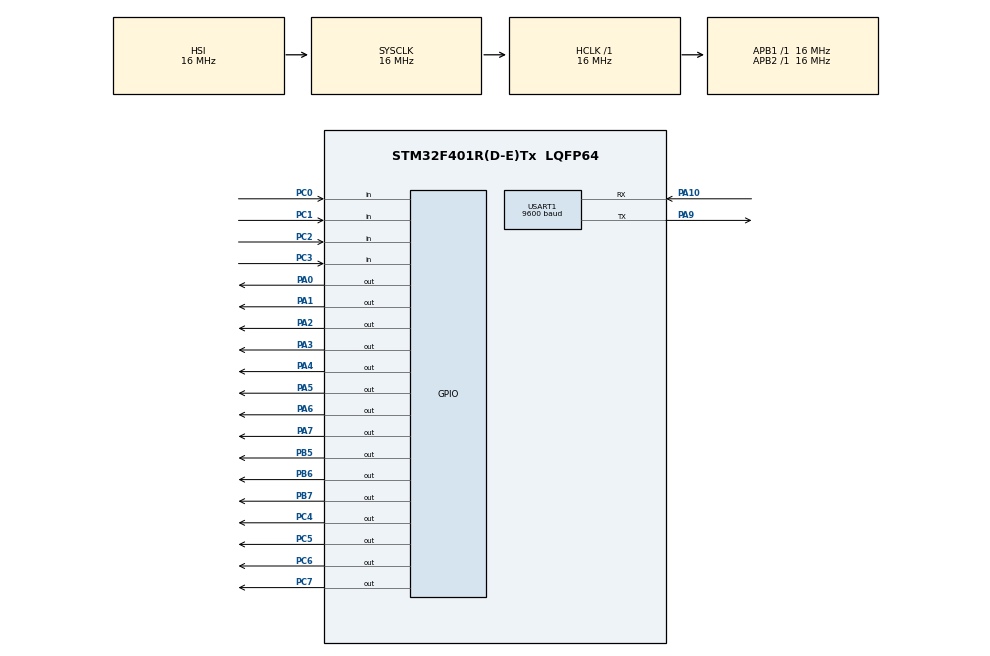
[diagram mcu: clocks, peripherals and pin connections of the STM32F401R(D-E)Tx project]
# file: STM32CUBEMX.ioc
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Mcu.Family=STM32F4
Mcu.Name=STM32F401R(D-E)Tx
Mcu.Package=LQFP64
NVIC.PriorityGroup=NVIC_PRIORITYGROUP_4
NVIC.USART1_IRQn=true\:0\:0\:false\:false\:true\:true\:true
PA0-WKUP.Signal=GPIO_Output
PA1.Signal=GPIO_Output
PA10.Mode=Asynchronous
PA10.Signal=USART1_RX
PA2.Signal=GPIO_Output
PA3.Signal=GPIO_Output
PA4.Signal=GPIO_Output
PA5.Signal=GPIO_Output
PA6.Signal=GPIO_Output
PA7.Signal=GPIO_Output
PA9.Mode=Asynchronous
PA9.Signal=USART1_TX
PB5.Signal=GPIO_Output
PB6.Signal=GPIO_Output
PB7.Signal=GPIO_Output
PC0.GPIO_PuPd=GPIO_PULLUP
PC0.Signal=GPIO_Input
PC1.GPIO_PuPd=GPIO_PULLUP
PC1.Signal=GPIO_Input
PC2.GPIO_PuPd=GPIO_PULLUP
PC2.Signal=GPIO_Input
PC3.GPIO_PuPd=GPIO_PULLUP
PC3.Signal=GPIO_Input
PC4.Signal=GPIO_Output
PC5.Signal=GPIO_Output
PC6.Signal=GPIO_Output
PC7.Signal=GPIO_Output
ProjectManager.HeapSize=0x200
ProjectManager.StackSize=0x400
ProjectManager.TargetToolchain=MDK-ARM V5.32
RCC.AHBFreq_Value=16000000
RCC.APB1Freq_Value=16000000
RCC.APB2Freq_Value=16000000
RCC.CortexFreq_Value=16000000
RCC.HSE_VALUE=25000000
RCC.HSI_VALUE=16000000
RCC.LSE_VALUE=32768
RCC.SYSCLKFreq_VALUE=16000000
RCC.VCOOutputFreq_Value=192000000
USART1.BaudRate=9600
USART1.VirtualMode=VM_ASYNC
board=custom

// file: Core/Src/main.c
/* USER CODE BEGIN Header */
/**
 ******************************************************************************
 * @file           : main.c
 * @brief          : Main program body
 ******************************************************************************
 * @attention
 *
 * <h2><center>&copy; Copyright (c) 2022 STMicroelectronics.
 * All rights reserved.</center></h2>
 *
 * This software component is licensed by ST under BSD 3-Clause license,
 * the "License"; You may not use this file except in compliance with the
 * License. You may obtain a copy of the License at:
 *                        opensource.org/licenses/BSD-3-Clause
 *
 ******************************************************************************
 */
/* USER CODE END Header */
#include "main.h"

/* USER CODE BEGIN Includes */
#include <stdio.h>
#include <stdlib.h>

#define RS 0x20 /* PB5 mask for reg select */
#define RW 0x40 /* PB6 mask for read/write */
#define EN 0x80 /* PB7 mask for enable */

// gpio defines for lcd
#define LCD_0_PIN GPIO_PIN_0
#define LCD_1_PIN GPIO_PIN_1
#define LCD_2_PIN GPIO_PIN_2
#define LCD_3_PIN GPIO_PIN_3
#define LCD_4_PIN GPIO_PIN_4
#define LCD_5_PIN GPIO_PIN_5
#define LCD_6_PIN GPIO_PIN_6
#define LCD_7_PIN GPIO_PIN_7
#define LCD_GPIO_SELECT GPIOA

#define KEYP_GPIO_SELECT GPIOC
#define KEYP_KPA GPIO_PIN_0
#define KEYP_KPB GPIO_PIN_1
#define KEYP_KPC GPIO_PIN_2
#define KEYP_KPD GPIO_PIN_3
#define KEYP_KP1 GPIO_PIN_4
#define KEYP_KP2 GPIO_PIN_5
#define KEYP_KP3 GPIO_PIN_6
#define KEYP_KP4 GPIO_PIN_7

void delayMs(int n);
void LCD_command(unsigned char command);
void LCD_data(char data);
void LCD_init(void);
char KEYPAD_check(void);
void checkInput(char charIn);
void print_result(void);
void show_Operation(void);

uint8_t send_buffer[1] = {0};
uint8_t rec_buffer[1] = {0};

int num1 = 0;
int num2 = 0;
int mode = 0; // 0 for getting first number, 1 for getting operatin, 2 for getting second number, 3 for calculate, 4 for reset
char operation_symbol = 0;
int result = 0;
int reset_calc = 0; // reset lcd after one calculation ( when user starts to write new number)

/* USER CODE END Includes */

UART_HandleTypeDef huart1;

void SystemClock_Config(void);
static void MX_GPIO_Init(void);
static void MX_USART1_UART_Init(void);

int main(void)
{

    /* MCU Configuration--------------------------------------------------------*/

    /* Reset of all peripherals, Initializes the Flash interface and the Systick. */
    HAL_Init();

    /* Configure the system clock */
    SystemClock_Config();

    /* Initialize all configured peripherals */
    MX_GPIO_Init();
    MX_USART1_UART_Init();
    /* USER CODE BEGIN 2 */
    LCD_init();
    /* USER CODE END 2 */

    /* Infinite loop */
    while (1)
    {

        /* USER CODE BEGIN 3 */
        char charIN = KEYPAD_check();
        if (charIN != 0x01)
        {
            // LCD_data(charIN);
            send_buffer[0] = charIN;
            HAL_UART_Transmit_IT(&huart1, send_buffer, sizeof(send_buffer));
            HAL_UART_Receive_IT(&huart1, rec_buffer, sizeof(rec_buffer));
        }
    }
    /* USER CODE END 3 */
}

void SystemClock_Config(void)
{
    RCC_OscInitTypeDef RCC_OscInitStruct = {0};
    RCC_ClkInitTypeDef RCC_ClkInitStruct = {0};

    /** Configure the main internal regulator output voltage
     */
    __HAL_RCC_PWR_CLK_ENABLE();
    __HAL_PWR_VOLTAGESCALING_CONFIG(PWR_REGULATOR_VOLTAGE_SCALE2);
    /** Initializes the RCC Oscillators according to the specified parameters
     * in the RCC_OscInitTypeDef structure.
     */
    RCC_OscInitStruct.OscillatorType = RCC_OSCILLATORTYPE_HSI;
    RCC_OscInitStruct.HSIState = RCC_HSI_ON;
    RCC_OscInitStruct.HSICalibrationValue = RCC_HSICALIBRATION_DEFAULT;
    RCC_OscInitStruct.PLL.PLLState = RCC_PLL_NONE;
    if (HAL_RCC_OscConfig(&RCC_OscInitStruct) != HAL_OK)
    {
        Error_Handler();
    }
    /** Initializes the CPU, AHB and APB buses clocks
     */
    RCC_ClkInitStruct.ClockType = RCC_CLOCKTYPE_HCLK | RCC_CLOCKTYPE_SYSCLK | RCC_CLOCKTYPE_PCLK1 | RCC_CLOCKTYPE_PCLK2;
    RCC_ClkInitStruct.SYSCLKSource = RCC_SYSCLKSOURCE_HSI;
    RCC_ClkInitStruct.AHBCLKDivider = RCC_SYSCLK_DIV1;
    RCC_ClkInitStruct.APB1CLKDivider = RCC_HCLK_DIV1;
    RCC_ClkInitStruct.APB2CLKDivider = RCC_HCLK_DIV1;

    if (HAL_RCC_ClockConfig(&RCC_ClkInitStruct, FLASH_LATENCY_0) != HAL_OK)
    {
        Error_Handler();
    }
}

static void MX_USART1_UART_Init(void)
{

    huart1.Instance = USART1;
    huart1.Init.BaudRate = 9600;
    huart1.Init.WordLength = UART_WORDLENGTH_8B;
    huart1.Init.StopBits = UART_STOPBITS_1;
    huart1.Init.Parity = UART_PARITY_NONE;
    huart1.Init.Mode = UART_MODE_TX_RX;
    huart1.Init.HwFlowCtl = UART_HWCONTROL_NONE;
    huart1.Init.OverSampling = UART_OVERSAMPLING_16;
    if (HAL_UART_Init(&huart1) != HAL_OK)
    {
        Error_Handler();
    }
}

static void MX_GPIO_Init(void)
{
    GPIO_InitTypeDef GPIO_InitStruct = {0};

    /* GPIO Ports Clock Enable */
    __HAL_RCC_GPIOC_CLK_ENABLE();
    __HAL_RCC_GPIOA_CLK_ENABLE();
    __HAL_RCC_GPIOB_CLK_ENABLE();

    /*Configure GPIO pin Output Level */
    HAL_GPIO_WritePin(GPIOA, GPIO_PIN_0 | GPIO_PIN_1 | GPIO_PIN_2 | GPIO_PIN_3 | GPIO_PIN_4 | GPIO_PIN_5 | GPIO_PIN_6 | GPIO_PIN_7, GPIO_PIN_RESET);

    /*Configure GPIO pin Output Level */
    HAL_GPIO_WritePin(GPIOC, GPIO_PIN_4 | GPIO_PIN_5 | GPIO_PIN_6 | GPIO_PIN_7, GPIO_PIN_RESET);

    /*Configure GPIO pin Output Level */
    HAL_GPIO_WritePin(GPIOB, GPIO_PIN_5 | GPIO_PIN_6 | GPIO_PIN_7, GPIO_PIN_RESET);

    /*Configure GPIO pins : PC0 PC1 PC2 PC3 */
    GPIO_InitStruct.Pin = GPIO_PIN_0 | GPIO_PIN_1 | GPIO_PIN_2 | GPIO_PIN_3;
    GPIO_InitStruct.Mode = GPIO_MODE_INPUT;
    GPIO_InitStruct.Pull = GPIO_PULLUP;
    HAL_GPIO_Init(GPIOC, &GPIO_InitStruct);

    /*Configure GPIO pins : PA0 PA1 PA2 PA3
                             PA4 PA5 PA6 PA7 */
    GPIO_InitStruct.Pin = GPIO_PIN_0 | GPIO_PIN_1 | GPIO_PIN_2 | GPIO_PIN_3 | GPIO_PIN_4 | GPIO_PIN_5 | GPIO_PIN_6 | GPIO_PIN_7;
    GPIO_InitStruct.Mode = GPIO_MODE_OUTPUT_PP;
    GPIO_InitStruct.Pull = GPIO_NOPULL;
    GPIO_InitStruct.Speed = GPIO_SPEED_FREQ_LOW;
    HAL_GPIO_Init(GPIOA, &GPIO_InitStruct);

    /*Configure GPIO pins : PC4 PC5 PC6 PC7 */
    GPIO_InitStruct.Pin = GPIO_PIN_4 | GPIO_PIN_5 | GPIO_PIN_6 | GPIO_PIN_7;
    GPIO_InitStruct.Mode = GPIO_MODE_OUTPUT_PP;
    GPIO_InitStruct.Pull = GPIO_NOPULL;
    GPIO_InitStruct.Speed = GPIO_SPEED_FREQ_LOW;
    HAL_GPIO_Init(GPIOC, &GPIO_InitStruct);

    /*Configure GPIO pins : PB5 PB6 PB7 */
    GPIO_InitStruct.Pin = GPIO_PIN_5 | GPIO_PIN_6 | GPIO_PIN_7;
    GPIO_InitStruct.Mode = GPIO_MODE_OUTPUT_PP;
    GPIO_InitStruct.Pull = GPIO_NOPULL;
    GPIO_InitStruct.Speed = GPIO_SPEED_FREQ_LOW;
    HAL_GPIO_Init(GPIOB, &GPIO_InitStruct);
}

/* USER CODE BEGIN 4 */
void delayMs(int n)
{
    int i;
    for (; n > 0; n--)
        for (i = 0; i < 3195; i++)
            __NOP();
}

void LCD_command(unsigned char command)
{
    HAL_GPIO_WritePin(GPIOB, RS, GPIO_PIN_RESET);
    HAL_GPIO_WritePin(GPIOB, RW, GPIO_PIN_RESET);
    for (uint16_t GPIO_Pin = GPIO_PIN_0; GPIO_Pin != GPIO_PIN_8; GPIO_Pin = GPIO_Pin << 1)
    {
        HAL_GPIO_WritePin(LCD_GPIO_SELECT, GPIO_Pin, command % 2);
        command = command >> 1;
    }
    HAL_GPIO_WritePin(GPIOB, EN, GPIO_PIN_SET); /* pulse E high */ /* make a pulse E */
    delayMs(0);
    HAL_GPIO_WritePin(GPIOB, EN, GPIO_PIN_RESET); /* clear E */
    if (command < 4)
        delayMs(2); /* first two commands need more time */
    else
        delayMs(1);
}

void LCD_data(char data)
{
    HAL_GPIO_WritePin(GPIOB, RS, GPIO_PIN_SET);   /* RS = 1 */
    HAL_GPIO_WritePin(GPIOB, RW, GPIO_PIN_RESET); /* R/W = 0 */
    for (uint16_t GPIO_Pin = LCD_0_PIN; GPIO_Pin <= LCD_7_PIN; GPIO_Pin = GPIO_Pin << 1)
    {
        HAL_GPIO_WritePin(LCD_GPIO_SELECT, GPIO_Pin, data % 2);
        data = data >> 1;
    }
    HAL_GPIO_WritePin(GPIOB, EN, GPIO_PIN_SET); /* pulse E high */
    delayMs(0);
    HAL_GPIO_WritePin(GPIOB, EN, GPIO_PIN_RESET); /* clear E */

    delayMs(1);
}

void LCD_init(void)
{ /* initialize port then initialize LCD and making it ready for commanding */
    delayMs(30);
    LCD_command(0x30);
    delayMs(10);
    LCD_command(0x30);
    delayMs(1);
    LCD_command(0x30);
    LCD_command(0x38); /* set 8-bit data and two line of 5x7 font */
    LCD_command(0x06); /*  cursor after each character */
    LCD_command(0x01); /* clear screen and reset cursor */
    LCD_command(0x0F); /* display turn on*/
}

char KEYPAD_check(void)
{
    HAL_GPIO_WritePin(KEYP_GPIO_SELECT, KEYP_KP1, GPIO_PIN_RESET);
    HAL_GPIO_WritePin(KEYP_GPIO_SELECT, KEYP_KP2, GPIO_PIN_SET);
    HAL_GPIO_WritePin(KEYP_GPIO_SELECT, KEYP_KP3, GPIO_PIN_SET);
    HAL_GPIO_WritePin(KEYP_GPIO_SELECT, KEYP_KP4, GPIO_PIN_SET);

    if (!(HAL_GPIO_ReadPin(KEYP_GPIO_SELECT, KEYP_KPA)))
    {
        while (!(HAL_GPIO_ReadPin(KEYP_GPIO_SELECT, KEYP_KPA)))
            ; // wait till the button is pressed
        return '7';
    }

    if (!(HAL_GPIO_ReadPin(KEYP_GPIO_SELECT, KEYP_KPB)))
    {
        while (!(HAL_GPIO_ReadPin(KEYP_GPIO_SELECT, KEYP_KPB)))
            ; // wait till the button is pressed
        return '4';
    }

    if (!(HAL_GPIO_ReadPin(KEYP_GPIO_SELECT, KEYP_KPC)))
    {
        while (!(HAL_GPIO_ReadPin(KEYP_GPIO_SELECT, KEYP_KPC)))
            ; // wait till the button is pressed
        return '1';
    }

    if (!(HAL_GPIO_ReadPin(KEYP_GPIO_SELECT, KEYP_KPD)))
    {
        while (!(HAL_GPIO_ReadPin(KEYP_GPIO_SELECT, KEYP_KPD)))
            ; // wait till the button is pressed
        return 'c';
    }

    HAL_GPIO_WritePin(KEYP_GPIO_SELECT, KEYP_KP1, GPIO_PIN_SET);
    HAL_GPIO_WritePin(KEYP_GPIO_SELECT, KEYP_KP2, GPIO_PIN_RESET);
    HAL_GPIO_WritePin(KEYP_GPIO_SELECT, KEYP_KP3, GPIO_PIN_SET);
    HAL_GPIO_WritePin(KEYP_GPIO_SELECT, KEYP_KP4, GPIO_PIN_SET);

    if (!(HAL_GPIO_ReadPin(KEYP_GPIO_SELECT, KEYP_KPA)))
    {
        while (!(HAL_GPIO_ReadPin(KEYP_GPIO_SELECT, KEYP_KPA)))
            ; // wait till the button is pressed
        return '8';
    }

    if (!(HAL_GPIO_ReadPin(KEYP_GPIO_SELECT, KEYP_KPB)))
    {
        while (!(HAL_GPIO_ReadPin(KEYP_GPIO_SELECT, KEYP_KPB)))
            ; // wait till the button is pressed
        return '5';
    }

    if (!(HAL_GPIO_ReadPin(KEYP_GPIO_SELECT, KEYP_KPC)))
    {
        while (!(HAL_GPIO_ReadPin(KEYP_GPIO_SELECT, KEYP_KPC)))
            ; // wait till the button is pressed
        return '2';
    }

    if (!(HAL_GPIO_ReadPin(KEYP_GPIO_SELECT, KEYP_KPD)))
    {
        while (!(HAL_GPIO_ReadPin(KEYP_GPIO_SELECT, KEYP_KPD)))
            ; // wait till the button is pressed
        return '0';
    }

    HAL_GPIO_WritePin(KEYP_GPIO_SELECT, KEYP_KP1, GPIO_PIN_SET);
    HAL_GPIO_WritePin(KEYP_GPIO_SELECT, KEYP_KP2, GPIO_PIN_SET);
    HAL_GPIO_WritePin(KEYP_GPIO_SELECT, KEYP_KP3, GPIO_PIN_RESET);
    HAL_GPIO_WritePin(KEYP_GPIO_SELECT, KEYP_KP4, GPIO_PIN_SET);

    if (!(HAL_GPIO_ReadPin(KEYP_GPIO_SELECT, KEYP_KPA)))
    {
        while (!(HAL_GPIO_ReadPin(KEYP_GPIO_SELECT, KEYP_KPA)))
            ; // wait till the button is pressed
        return '9';
    }

    if (!(HAL_GPIO_ReadPin(KEYP_GPIO_SELECT, KEYP_KPB)))
    {
        while (!(HAL_GPIO_ReadPin(KEYP_GPIO_SELECT, KEYP_KPB)))
            ; // wait till the button is pressed
        return '6';
    }

    if (!(HAL_GPIO_ReadPin(KEYP_GPIO_SELECT, KEYP_KPC)))
    {
        while (!(HAL_GPIO_ReadPin(KEYP_GPIO_SELECT, KEYP_KPC)))
            ; // wait till the button is pressed
        return '3';
    }

    if (!(HAL_GPIO_ReadPin(KEYP_GPIO_SELECT, KEYP_KPD)))
    {
        while (!(HAL_GPIO_ReadPin(KEYP_GPIO_SELECT, KEYP_KPD)))
            ; // wait till the button is pressed
        return 'e';
    }

    HAL_GPIO_WritePin(KEYP_GPIO_SELECT, KEYP_KP1, GPIO_PIN_SET);
    HAL_GPIO_WritePin(KEYP_GPIO_SELECT, KEYP_KP2, GPIO_PIN_SET);
    HAL_GPIO_WritePin(KEYP_GPIO_SELECT, KEYP_KP3, GPIO_PIN_SET);
    HAL_GPIO_WritePin(KEYP_GPIO_SELECT, KEYP_KP4, GPIO_PIN_RESET);

    if (!(HAL_GPIO_ReadPin(KEYP_GPIO_SELECT, KEYP_KPA)))
    {
        while (!(HAL_GPIO_ReadPin(KEYP_GPIO_SELECT, KEYP_KPA)))
            ; // wait till the button is pressed
        return 'd';
    }

    if (!(HAL_GPIO_ReadPin(KEYP_GPIO_SELECT, KEYP_KPB)))
    {
        while (!(HAL_GPIO_ReadPin(KEYP_GPIO_SELECT, KEYP_KPB)))
            ; // wait till the button is pressed
        return 'x';
    }

    if (!(HAL_GPIO_ReadPin(KEYP_GPIO_SELECT, KEYP_KPC)))
    {
        while (!(HAL_GPIO_ReadPin(KEYP_GPIO_SELECT, KEYP_KPC)))
            ; // wait till the button is pressed
        return 'm';
    }

    if (!(HAL_GPIO_ReadPin(KEYP_GPIO_SELECT, KEYP_KPD)))
    {
        while (!(HAL_GPIO_ReadPin(KEYP_GPIO_SELECT, KEYP_KPD)))
            ; // wait till the button is pressed
        return 's';
    }
}

void HAL_UART_RxCpltCallback(UART_HandleTypeDef *huart)
{
    HAL_UART_Receive_IT(&huart1, rec_buffer, sizeof(rec_buffer));
    // LCD_data(rec_buffer[0]);
    if (mode == 0)
    {
        if (reset_calc == 0)
        {
            LCD_command(1);
            reset_calc++;
        }
        if (0 <= rec_buffer[0] - 48 && rec_buffer[0] - 48 <= 9)
        {
            LCD_data(rec_buffer[0]);
            num1 *= 10;
            num1 += (rec_buffer[0] - 48);
        }
        else if (rec_buffer[0] == 'c')
        {
            mode = 4;
        }
        else
        {
            mode++;
            operation_symbol = rec_buffer[0];
                }
    }

    if (mode == 1)
    {

        if (0 <= rec_buffer[0] - 48 && rec_buffer[0] - 48 <= 9)
        {

            mode++;
        }
        else if (rec_buffer[0] == 'c')
        {
            mode = 4;
        }
        else
        {
            operation_symbol = rec_buffer[0];
            show_Operation();
        }
    }

    if (mode == 2)
    {
        if (0 <= rec_buffer[0] - 48 && rec_buffer[0] - 48 <= 9)
        {
            num2 *= 10;
            num2 += (rec_buffer[0] - 48);
            LCD_data(rec_buffer[0]);
        }
        else if (rec_buffer[0] == 'c')
        {
            mode = 4;
        }
        else if (rec_buffer[0] == 'e')
        {
            mode++;
            LCD_command(1);
            LCD_data('=');
        }
    }

    if (mode == 3)
    {
        switch (operation_symbol)
        {
        case 'd':
            result = num1 / num2;
            break;
        case 'x':
            result = num1 * num2;
            break;
        case 'm':
            result = num1 - num2;
            break;
        case 's':
            result = num1 + num2;
            break;
        default:
            LCD_data('?');
        }
        print_result();
        mode++;
    }
    if (mode == 4)
    {
        num1 = 0;
        num2 = 0;
        result = 0;
        mode = 0;
        operation_symbol = 0;
        reset_calc = 0;
    }
}

void print_result(void)
{
    char resVal[100];
    sprintf(resVal, "%d", result);
    for (int i = 0; i < 101; i++)
    {
        if (resVal[i] == '\0')
            break;
        LCD_data(resVal[i]);
    }
}

void show_Operation(void)
{
    switch (operation_symbol)
    {
    case 'd':
        LCD_data('/');
        break;
    case 'x':
        LCD_data('*');
        break;
    case 'm':
        LCD_data('-');
        break;
    case 's':
        LCD_data('+');
        break;

    default:
        LCD_data('!');
        break;
    }
}

void HAL_UART_TxCpltCallback(UART_HandleTypeDef *huart)
{
}
/* USER CODE END 4 */

void Error_Handler(void)
{
    __disable_irq();
    while (1)
    {
    }
}

/************************ (C) COPYRIGHT STMicroelectronics *****END OF FILE****/
